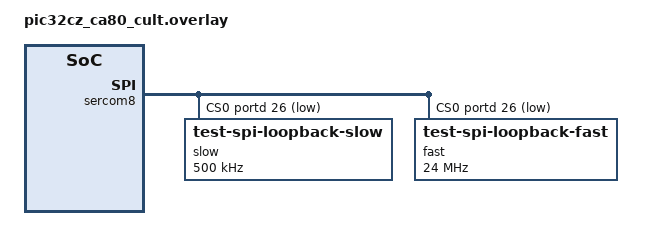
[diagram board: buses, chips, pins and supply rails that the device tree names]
/*
 * Copyright (c) 2026 Microchip Technology Inc.
 *
 * SPDX-License-Identifier: Apache-2.0
 */

#include <zephyr/dt-bindings/gpio/gpio.h>

&sercom2 {
	status = "disabled";
};

&portd {
	status = "okay";
};

&sercom8 {
	compatible = "microchip,sercom-g1-spi";
	/* Internally connect MOSI to MISO for loop-back operation */
	dipo = <3>;
	dopo = <2>;
	/* Assign a CS pin */
	cs-gpios = <&portd 26 GPIO_ACTIVE_LOW>;
	/* Configure DMA */
	dmas = <&dmac 0 21>, <&dmac 1 22>;
	dma-names = "rx", "tx";

	slow@0 {
		compatible = "test-spi-loopback-slow";
		reg = <0>;
		spi-max-frequency = <500000>;
	};

	fast@0 {
		compatible = "test-spi-loopback-fast";
		reg = <0>;
		spi-max-frequency = <24000000>;
	};

	#address-cells = <1>;
	#size-cells = <0>;
	pinctrl-0 = <&sercom8_spi_default>;
	pinctrl-names = "default";
	status = "okay";
};

&pinctrl {
	sercom8_spi_default: sercom8_spi_default {
		group1 {
			pinmux = <PD24D_SERCOM8_PAD0>,
				 <PD27D_SERCOM8_PAD3>,
				 <PD25D_SERCOM8_PAD1>;
		};
	};
};
